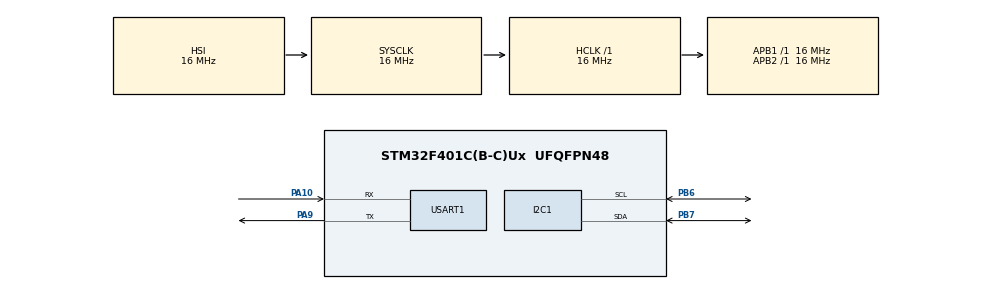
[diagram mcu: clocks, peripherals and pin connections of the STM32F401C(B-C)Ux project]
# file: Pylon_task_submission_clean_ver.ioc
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Mcu.Family=STM32F4
Mcu.Name=STM32F401C(B-C)Ux
Mcu.Package=UFQFPN48
NVIC.PriorityGroup=NVIC_PRIORITYGROUP_4
NVIC.USART1_IRQn=true\:0\:0\:false\:false\:true\:true\:true\:true
PA10.Mode=Asynchronous
PA10.Signal=USART1_RX
PA9.Mode=Asynchronous
PA9.Signal=USART1_TX
PB6.Mode=I2C
PB6.Signal=I2C1_SCL
PB7.Mode=I2C
PB7.Signal=I2C1_SDA
ProjectManager.HeapSize=0x200
ProjectManager.StackSize=0x400
ProjectManager.TargetToolchain=STM32CubeIDE
RCC.AHBFreq_Value=16000000
RCC.APB1Freq_Value=16000000
RCC.APB2Freq_Value=16000000
RCC.CortexFreq_Value=16000000
RCC.HSE_VALUE=25000000
RCC.HSI_VALUE=16000000
RCC.LSE_VALUE=32768
RCC.SYSCLKFreq_VALUE=16000000
RCC.VCOOutputFreq_Value=192000000
USART1.VirtualMode=VM_ASYNC
VP_MBEDTLS_VS_MBEDTLS.Mode=Enabled
board=custom

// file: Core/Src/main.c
/* USER CODE BEGIN Header */
/**
  ******************************************************************************
  * @file           : main.c
  * @brief          : Main program body
  ******************************************************************************
  * @attention
  *
  * Copyright (c) 2024 STMicroelectronics.
  * All rights reserved.
  *
  * This software is licensed under terms that can be found in the LICENSE file
  * in the root directory of this software component.
  * If no LICENSE file comes with this software, it is provided AS-IS.
  *
  ******************************************************************************
  */
/* USER CODE END Header */
#include "main.h"
#include "mbedtls.h"

/* USER CODE BEGIN Includes */
#include <string.h>
#include <stdio.h>
#include "mbedtls/aes.h"
#include"encrption_header.h"
#include"AES_User_defines.h"
#include"key_stoarge.h"

/* USER CODE END Includes */

I2C_HandleTypeDef hi2c1;

UART_HandleTypeDef huart1;

/* USER CODE BEGIN PV */
#define I2C_ADDRESS 0x10
/* USER CODE END PV */

void SystemClock_Config(void);
static void MX_GPIO_Init(void);
static void MX_I2C1_Init(void);
static void MX_USART1_UART_Init(void);

int main(void)
{

  /* USER CODE BEGIN 1 */
	  unsigned char plaintext[] = "This is a secret message";
	    /*Buffers for ciphertext and decrypted text */
	    unsigned char ciphertext[128];
	    unsigned char decrypted[128];
	    unsigned char padded_plaintext[128];/*padded buffer for use with AES-CBC encryption*/
	    unsigned char Recieved_encrypted_data[128];
	    unsigned char Tag[TAG_SIZE];/*tag for AES-GCM encryption*/
	    size_t plaintext_len = strlen((char *)plaintext);

	    /*for testing purposes*/
	    unsigned char rand_key[16] = "0123456789123456";
	    unsigned char rand_iv[16] = "aasd1245anmios78";
	    generate_random(rand_key,16,pers,pers_len);
	    generate_random(rand_iv,16,pers,pers_len);

	  /* USER CODE END 1 */

  /* MCU Configuration--------------------------------------------------------*/

  /* Reset of all peripherals, Initializes the Flash interface and the Systick. */
  HAL_Init();

  /* Configure the system clock */
  SystemClock_Config();

  /* Initialize all configured peripherals */
  MX_GPIO_Init();
  MX_I2C1_Init();
  MX_USART1_UART_Init();
  MX_MBEDTLS_Init();
  /* USER CODE BEGIN 2 */
  aes_gcm_encrypt(GCM_key,AES_GCM_KEY_SIZE,GCM_iv,AES_GCM_IV_SIZE,plaintext,plaintext_len,ciphertext,aad,aad_len,Tag);
  HAL_UART_Transmit(&huart1,ciphertext,plaintext_len,HAL_MAX_DELAY);
  /*uart here is for demonstration purpose , really any communication protcol will work*/
  aes_gcm_decrypt(GCM_key,AES_GCM_KEY_SIZE,GCM_iv,AES_GCM_IV_SIZE,ciphertext,plaintext_len,decrypted,aad,aad_len,Tag);

  size_t padded_len = ((plaintext_len + AES_BLOCK_SIZE - 1) / AES_BLOCK_SIZE) * AES_BLOCK_SIZE; // Pad to block size
  padding_data_for_AES_CBC_encryption(plaintext,plaintext_len,padded_plaintext);
  AES_Encryption(key,iv,padded_len,padded_plaintext,ciphertext);

  HAL_I2C_Master_Transmit(&hi2c1, I2C_ADDRESS << 1, iv, AES_BLOCK_SIZE, HAL_MAX_DELAY);
  HAL_I2C_Master_Transmit(&hi2c1, I2C_ADDRESS << 1, ciphertext, padded_len, HAL_MAX_DELAY);

  AES_Decryption(key,iv,padded_len,ciphertext,decrypted);
  /*simulate reciveing data through I2C
  HAL_I2C_Master_Receive(&hi2c1, I2C_ADDRESS << 1, iv, AES_BLOCK_SIZE, HAL_MAX_DELAY);
  HAL_I2C_Master_Receive(&hi2c1, I2C_ADDRESS << 1, ciphertext, padded_len, HAL_MAX_DELAY);
*/
  /* USER CODE END 2 */

  /* Infinite loop */
  while (1)
  {

  }
}

void SystemClock_Config(void)
{
  RCC_OscInitTypeDef RCC_OscInitStruct = {0};
  RCC_ClkInitTypeDef RCC_ClkInitStruct = {0};

  /** Configure the main internal regulator output voltage
  */
  __HAL_RCC_PWR_CLK_ENABLE();
  __HAL_PWR_VOLTAGESCALING_CONFIG(PWR_REGULATOR_VOLTAGE_SCALE2);

  /** Initializes the RCC Oscillators according to the specified parameters
  * in the RCC_OscInitTypeDef structure.
  */
  RCC_OscInitStruct.OscillatorType = RCC_OSCILLATORTYPE_HSI;
  RCC_OscInitStruct.HSIState = RCC_HSI_ON;
  RCC_OscInitStruct.HSICalibrationValue = RCC_HSICALIBRATION_DEFAULT;
  RCC_OscInitStruct.PLL.PLLState = RCC_PLL_NONE;
  if (HAL_RCC_OscConfig(&RCC_OscInitStruct) != HAL_OK)
  {
    Error_Handler();
  }

  /** Initializes the CPU, AHB and APB buses clocks
  */
  RCC_ClkInitStruct.ClockType = RCC_CLOCKTYPE_HCLK|RCC_CLOCKTYPE_SYSCLK
                              |RCC_CLOCKTYPE_PCLK1|RCC_CLOCKTYPE_PCLK2;
  RCC_ClkInitStruct.SYSCLKSource = RCC_SYSCLKSOURCE_HSI;
  RCC_ClkInitStruct.AHBCLKDivider = RCC_SYSCLK_DIV1;
  RCC_ClkInitStruct.APB1CLKDivider = RCC_HCLK_DIV1;
  RCC_ClkInitStruct.APB2CLKDivider = RCC_HCLK_DIV1;

  if (HAL_RCC_ClockConfig(&RCC_ClkInitStruct, FLASH_LATENCY_0) != HAL_OK)
  {
    Error_Handler();
  }
}

static void MX_I2C1_Init(void)
{

  hi2c1.Instance = I2C1;
  hi2c1.Init.ClockSpeed = 100000;
  hi2c1.Init.DutyCycle = I2C_DUTYCYCLE_2;
  hi2c1.Init.OwnAddress1 = 0;
  hi2c1.Init.AddressingMode = I2C_ADDRESSINGMODE_7BIT;
  hi2c1.Init.DualAddressMode = I2C_DUALADDRESS_DISABLE;
  hi2c1.Init.OwnAddress2 = 0;
  hi2c1.Init.GeneralCallMode = I2C_GENERALCALL_DISABLE;
  hi2c1.Init.NoStretchMode = I2C_NOSTRETCH_DISABLE;
  if (HAL_I2C_Init(&hi2c1) != HAL_OK)
  {
    Error_Handler();
  }

}

static void MX_USART1_UART_Init(void)
{

  huart1.Instance = USART1;
  huart1.Init.BaudRate = 115200;
  huart1.Init.WordLength = UART_WORDLENGTH_8B;
  huart1.Init.StopBits = UART_STOPBITS_1;
  huart1.Init.Parity = UART_PARITY_NONE;
  huart1.Init.Mode = UART_MODE_TX_RX;
  huart1.Init.HwFlowCtl = UART_HWCONTROL_NONE;
  huart1.Init.OverSampling = UART_OVERSAMPLING_16;
  if (HAL_UART_Init(&huart1) != HAL_OK)
  {
    Error_Handler();
  }

}

static void MX_GPIO_Init(void)
{

  /* GPIO Ports Clock Enable */
  __HAL_RCC_GPIOA_CLK_ENABLE();
  __HAL_RCC_GPIOB_CLK_ENABLE();

}

void Error_Handler(void)
{
  __disable_irq();
  while (1)
  {
  }
}
